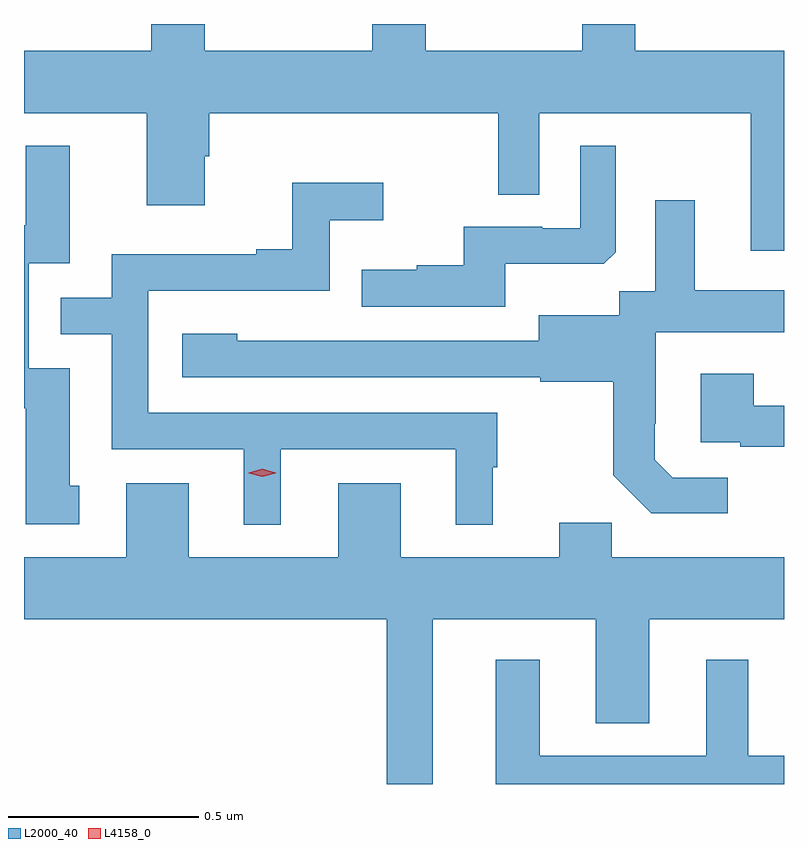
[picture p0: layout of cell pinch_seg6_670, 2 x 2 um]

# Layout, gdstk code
import gdstk
lib = gdstk.Library(unit=1e-6, precision=1e-09)
def P(c, l, *ps):  # polygons
    for p in ps: c.add(gdstk.Polygon(p, *l))
L2000_40 = (2000, 40)
L4158_0 = (4158, 0)

pinch_seg6_670 = lib.new_cell('pinch_seg6_670')
P(pinch_seg6_670, L2000_40, [(419.948,947.5),(419.557,947.5),(419.557,947.571),(419.417,947.571),(419.417,947.5),(419.005,947.5),(419.005,947.571),(418.865,947.571),(418.865,947.5),(418.423,947.5),(418.423,947.571),(418.283,947.571),(418.283,947.5),(417.948,947.5),(417.948,947.336),(418.271,947.336),(418.271,947.094),(418.423,947.094),(418.423,947.223),(418.436,947.223),(418.436,947.336),(419.196,947.336),(419.196,947.122),(419.304,947.122),(419.304,947.336),(419.861,947.336),(419.861,946.974),(419.948,946.974)],
  [(418.093,946.356),(418.069,946.356),(418.069,946.665),(417.96,946.665),(417.96,946.941),(418.069,946.941),(418.069,947.251),(417.953,947.251),(417.953,947.042),(417.948,947.042),(417.948,946.56),(417.953,946.56),(417.953,946.254),(418.093,946.254)],
  [(419.215,946.94),(419.473,946.94),(419.505,946.971),(419.505,947.251),(419.412,947.251),(419.412,947.034),(419.312,947.034),(419.312,947.037),(419.105,947.037),(419.105,946.936),(418.981,946.936),(418.981,946.924),(418.837,946.924),(418.837,946.827),(419.215,946.827)],
  [(418.624,946.452),(419.084,946.452),(419.084,946.253),(419.182,946.253),(419.182,946.404),(419.194,946.404),(419.194,946.548),(418.275,946.548),(418.275,946.869),(418.752,946.869),(418.752,947.054),(418.894,947.054),(418.894,947.153),(418.654,947.153),(418.654,946.978),(418.559,946.978),(418.559,946.965),(418.179,946.965),(418.179,946.851),(418.045,946.851),(418.045,946.755),(418.179,946.755),(418.179,946.452),(418.526,946.452),(418.526,946.253),(418.624,946.253)],
  [(419.8,946.377),(419.655,946.377),(419.608,946.424),(419.608,946.519),(419.61,946.519),(419.61,946.76),(419.948,946.76),(419.948,946.87),(419.713,946.87),(419.713,947.107),(419.609,947.107),(419.609,946.868),(419.514,946.868),(419.514,946.804),(419.303,946.804),(419.303,946.737),(418.745,946.737),(418.745,946.738),(418.509,946.738),(418.509,946.756),(418.365,946.756),(418.365,946.641),(419.307,946.641),(419.307,946.629),(419.499,946.629),(419.499,946.383),(419.599,946.283),(419.8,946.283)],
  [(419.948,946.566),(419.869,946.566),(419.869,946.651),(419.729,946.651),(419.729,946.47),(419.833,946.47),(419.833,946.458),(419.948,946.458)],
  [(419.023,946.004),(419.453,946.004),(419.453,945.731),(419.593,945.731),(419.593,946.004),(419.948,946.004),(419.948,946.168),(419.495,946.168),(419.495,946.259),(419.357,946.259),(419.357,946.168),(418.939,946.168),(418.939,946.363),(418.775,946.363),(418.775,946.168),(418.381,946.168),(418.381,946.363),(418.217,946.363),(418.217,946.168),(417.948,946.168),(417.948,946.004),(418.902,946.004),(418.902,945.571),(419.023,945.571)],
  [(419.948,945.646),(419.854,945.646),(419.854,945.898),(419.744,945.898),(419.744,945.646),(419.305,945.646),(419.305,945.898),(419.189,945.898),(419.189,945.571),(419.948,945.571)])
P(pinch_seg6_670, L4158_0, [(418.575,946.38),(418.539,946.389),(418.539,946.39),(418.539,946.39),(418.575,946.4),(418.611,946.39),(418.611,946.39),(418.611,946.389)])

lib.write_gds('pinch_seg6_670.gds')
